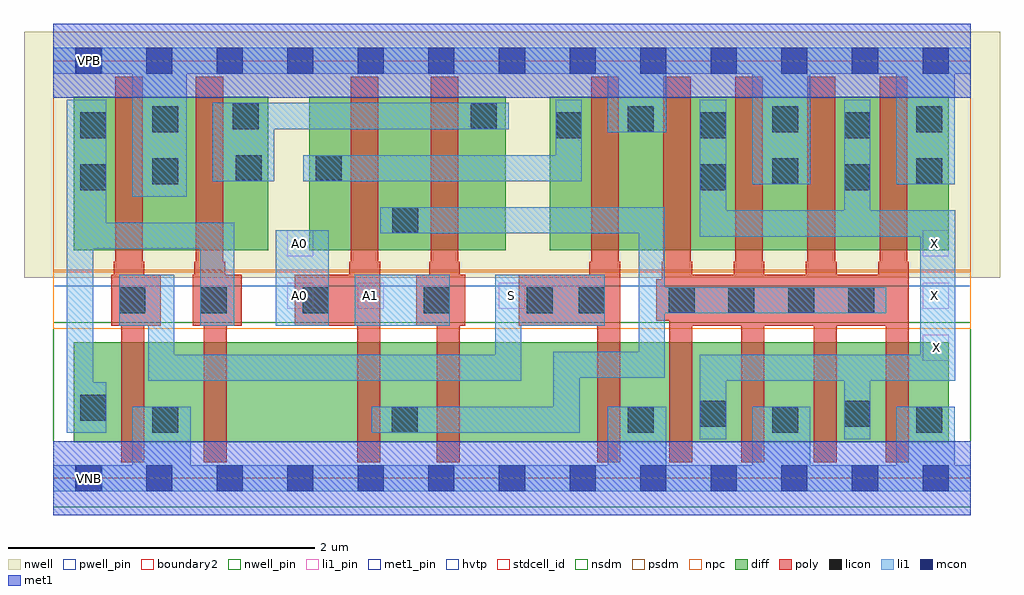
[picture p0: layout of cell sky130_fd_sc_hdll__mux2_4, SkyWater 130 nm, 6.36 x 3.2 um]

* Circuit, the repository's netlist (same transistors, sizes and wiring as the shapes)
* Copyright 2020 The SkyWater PDK Authors
*
* Licensed under the Apache License, Version 2.0 (the "License");
* you may not use this file except in compliance with the License.
* You may obtain a copy of the License at
*
*     https://www.apache.org/licenses/LICENSE-2.0
*
* Unless required by applicable law or agreed to in writing, software
* distributed under the License is distributed on an "AS IS" BASIS,
* WITHOUT WARRANTIES OR CONDITIONS OF ANY KIND, either express or implied.
* See the License for the specific language governing permissions and
* limitations under the License.
*
* SPDX-License-Identifier: Apache-2.0

.SUBCKT sky130_fd_sc_hdll__mux2_4 A0 A1 S VGND VNB VPB VPWR X
*.PININFO A0:I A1:I S:I VGND:I VNB:I VPB:I VPWR:I X:O
MMNA00 xb A0 smdNA0 VNB sky130_fd_pr__nfet_01v8 m=1 w=0.65U l=0.15U mult=1 sa=0.265
+ sb=0.265 sd=0.28 area=0.063 perim=1.14
MMNA01 smdNA0 Sb VGND VNB sky130_fd_pr__nfet_01v8 m=1 w=0.65U l=0.15U mult=1 sa=0.265
+ sb=0.265 sd=0.28 area=0.063 perim=1.14
MMNA10 xb A1 sndNA1 VNB sky130_fd_pr__nfet_01v8 m=1 w=0.65U l=0.15U mult=1 sa=0.265
+ sb=0.265 sd=0.28 area=0.063 perim=1.14
MMNA11 sndNA1 S VGND VNB sky130_fd_pr__nfet_01v8 m=1 w=0.65U l=0.15U mult=1 sa=0.265
+ sb=0.265 sd=0.28 area=0.063 perim=1.14
MMIN1 Sb S VGND VNB sky130_fd_pr__nfet_01v8 m=1 w=0.65U l=0.15U mult=1 sa=0.265
+ sb=0.265 sd=0.28 area=0.063 perim=1.14
MMIN2 X xb VGND VNB sky130_fd_pr__nfet_01v8 m=4 w=0.65U l=0.15U mult=1 sa=0.265
+ sb=0.265 sd=0.28 area=0.063 perim=1.14
MMPA00 VPWR S sndPS VPB sky130_fd_pr__pfet_01v8_hvt m=1 w=1.0U l=0.18U mult=1 sa=0.265
+ sb=0.265 sd=0.28 area=0.063 perim=1.14
MMPA01 sndPS A0 xb VPB sky130_fd_pr__pfet_01v8_hvt m=1 w=1.0U l=0.18U mult=1 sa=0.265
+ sb=0.265 sd=0.28 area=0.063 perim=1.14
MMPA10 VPWR Sb sndPSb VPB sky130_fd_pr__pfet_01v8_hvt m=1 w=1.0U l=0.18U mult=1
+ sa=0.265 sb=0.265 sd=0.28 area=0.063 perim=1.14
MMPA11 sndPSb A1 xb VPB sky130_fd_pr__pfet_01v8_hvt m=1 w=1.0U l=0.18U mult=1 sa=0.265
+ sb=0.265 sd=0.28 area=0.063 perim=1.14
MMIP1 Sb S VPWR VPB sky130_fd_pr__pfet_01v8_hvt m=1 w=1.0U l=0.18U mult=1 sa=0.265
+ sb=0.265 sd=0.28 area=0.063 perim=1.14
MMIP2 X xb VPWR VPB sky130_fd_pr__pfet_01v8_hvt m=4 w=1.0U l=0.18U mult=1 sa=0.265
+ sb=0.265 sd=0.28 area=0.063 perim=1.14
.ENDS sky130_fd_sc_hdll__mux2_4

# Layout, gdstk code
import gdstk
lib = gdstk.Library(unit=1e-6, precision=1e-09)
def R(c, l, rs):  # rectangles x0, y0, x1, y1
    for r in rs: c.add(gdstk.rectangle(r[:2], r[2:], *l))
def A(c, l, x, y, w, h, nx, ny, dx, dy):  # array of equal rectangles
    R(c, l, [(x+i*dx, y+j*dy, x+i*dx+w, y+j*dy+h) for i in range(nx) for j in range(ny)])
def P(c, l, *ps):  # polygons
    for p in ps: c.add(gdstk.Polygon(p, *l))
nwell_pin = (64, 16)
nwell = (64, 20)
diff = (65, 20)
poly = (66, 20)
licon = (66, 44)
li1_pin = (67, 16)
li1 = (67, 20)
mcon = (67, 44)
met1_pin = (68, 16)
met1 = (68, 20)
hvtp = (78, 44)
stdcell_id = (81, 4)
nsdm = (93, 44)
psdm = (94, 20)
npc = (95, 20)
pwell_pin = (122, 16)
boundary2 = (236, 0)

sky130_fd_sc_hdll__mux2_ = lib.new_cell('sky130_fd_sc_hdll__mux2_4')
R(sky130_fd_sc_hdll__mux2_, nwell_pin, [(0.15,2.635,0.32,2.805)])
R(sky130_fd_sc_hdll__mux2_, nwell, [(-0.19,1.305,6.17,2.91)])
R(sky130_fd_sc_hdll__mux2_, diff, [(0.135,0.235,5.835,0.885), (0.135,1.485,1.4,2.485), (1.67,1.485,2.95,2.485), (3.235,1.485,5.835,2.485)])
P(sky130_fd_sc_hdll__mux2_, poly, [(0.7,1.325),(0.595,1.325),(0.595,1.41),(0.585,1.41),(0.585,2.615),(0.405,2.615),(0.405,1.41),(0.395,1.41),(0.395,1.325),(0.38,1.325),(0.38,0.995),(0.445,0.995),(0.445,0.105),(0.595,0.105),(0.595,0.995),(0.7,0.995)],
  [(1.23,1.325),(1.12,1.325),(1.12,1.41),(1.11,1.41),(1.11,2.615),(0.93,2.615),(0.93,1.41),(0.92,1.41),(0.92,1.325),(0.91,1.325),(0.91,0.995),(0.98,0.995),(0.98,0.105),(1.13,0.105),(1.13,0.995),(1.23,0.995)],
  [(2.13,1.41),(2.12,1.41),(2.12,2.615),(1.94,2.615),(1.94,1.41),(1.93,1.41),(1.93,1.325),(1.575,1.325),(1.575,0.995),(1.98,0.995),(1.98,0.105),(2.13,0.105)],
  [(2.685,1.325),(2.65,1.325),(2.65,1.41),(2.64,1.41),(2.64,2.615),(2.46,2.615),(2.46,1.41),(2.45,1.41),(2.45,1.325),(2.365,1.325),(2.365,0.995),(2.5,0.995),(2.5,0.105),(2.65,0.105),(2.65,0.995),(2.685,0.995)],
  [(3.695,1.41),(3.685,1.41),(3.685,2.615),(3.505,2.615),(3.505,1.41),(3.495,1.41),(3.495,1.325),(3.035,1.325),(3.035,0.995),(3.545,0.995),(3.545,0.105),(3.695,0.105)],
  [(5.575,1.41),(5.565,1.41),(5.565,2.615),(5.385,2.615),(5.385,1.41),(5.375,1.41),(5.375,1.325),(5.105,1.325),(5.105,1.41),(5.095,1.41),(5.095,2.615),(4.915,2.615),(4.915,1.41),(4.905,1.41),(4.905,1.325),(4.635,1.325),(4.635,1.41),(4.625,1.41),(4.625,2.615),(4.445,2.615),(4.445,1.41),(4.435,1.41),(4.435,1.325),(4.165,1.325),(4.165,1.41),(4.155,1.41),(4.155,2.615),(3.975,2.615),(3.975,1.41),(3.965,1.41),(3.965,1.295),(3.93,1.295),(3.93,1.025),(4.015,1.025),(4.015,0.105),(4.165,0.105),(4.165,0.995),(4.485,0.995),(4.485,0.105),(4.635,0.105),(4.635,0.995),(4.955,0.995),(4.955,0.105),(5.105,0.105),(5.105,0.995),(5.425,0.995),(5.425,0.105),(5.575,0.105)])
A(sky130_fd_sc_hdll__mux2_, licon, 3.745, 0.295, 0.17, 0.17, 3, 2, 0.94, 1.96)
A(sky130_fd_sc_hdll__mux2_, licon, 4.01, 1.075, 0.17, 0.17, 4, 1, 0.39, 0)
A(sky130_fd_sc_hdll__mux2_, licon, 3.275, 2.215, 0.17, 0.17, 3, 1, 0.94, 0)
R(sky130_fd_sc_hdll__mux2_, licon, [(0.645,0.295,0.815,0.465), (2.205,0.295,2.375,0.465), (4.215,0.335,4.385,0.505), (5.155,0.335,5.325,0.505), (0.175,0.375,0.345,0.545), (0.43,1.075,0.6,1.245), (0.96,1.075,1.13,1.245), (1.625,1.075,1.795,1.245), (2.415,1.075,2.585,1.245), (3.085,1.075,3.255,1.245), (3.425,1.075,3.595,1.245), (2.21,1.595,2.38,1.765), (0.175,1.875,0.345,2.045), (4.215,1.875,4.385,2.045), (5.155,1.875,5.325,2.045), (0.645,1.915,0.815,2.085), (4.685,1.915,4.855,2.085), (5.625,1.915,5.795,2.085), (1.19,1.935,1.36,2.105), (1.71,1.935,1.88,2.105), (0.175,2.215,0.345,2.385), (0.645,2.255,0.815,2.425), (1.17,2.275,1.34,2.445), (2.72,2.275,2.89,2.445)])
A(sky130_fd_sc_hdll__mux2_, li1_pin, 5.665, 0.765, 0.17, 0.17, 1, 3, 0, 0.34)
R(sky130_fd_sc_hdll__mux2_, li1_pin, [(1.525,1.105,1.695,1.275), (1.985,1.105,2.155,1.275), (2.905,1.105,3.075,1.275), (1.525,1.445,1.695,1.615)])
R(sky130_fd_sc_hdll__mux2_, li1, [(1.45,0.995,1.795,1.615), (1.965,0.995,2.585,1.325)])
P(sky130_fd_sc_hdll__mux2_, li1, [(5.98,0.085),(5.875,0.085),(5.875,0.465),(5.495,0.465),(5.495,0.085),(4.935,0.085),(4.935,0.465),(4.555,0.465),(4.555,0.085),(3.995,0.085),(3.995,0.465),(3.615,0.465),(3.615,0.085),(0.895,0.085),(0.895,0.465),(0.515,0.465),(0.515,0.085),(0,0.085),(0,-0.085),(5.98,-0.085)],
  [(5.98,2.805),(0,2.805),(0,2.635),(0.515,2.635),(0.515,1.835),(0.87,1.835),(0.87,2.635),(3.615,2.635),(3.615,2.255),(3.995,2.255),(3.995,2.635),(4.555,2.635),(4.555,1.915),(4.935,1.915),(4.935,2.635),(5.495,2.635),(5.495,1.915),(5.875,1.915),(5.875,2.635),(5.98,2.635)],
  [(5.88,1.745),(5.325,1.745),(5.325,2.465),(5.155,2.465),(5.155,1.745),(4.385,1.745),(4.385,2.465),(4.215,2.465),(4.215,1.575),(5.65,1.575),(5.65,0.805),(4.215,0.805),(4.215,0.255),(4.385,0.255),(4.385,0.635),(5.155,0.635),(5.155,0.255),(5.325,0.255),(5.325,0.635),(5.88,0.635)],
  [(1.18,1.665),(0.345,1.665),(0.345,2.465),(0.09,2.465),(0.09,0.295),(0.345,0.295),(0.345,0.625),(0.26,0.625),(0.26,1.495),(0.96,1.495),(0.96,0.995),(1.18,0.995)],
  [(5.43,1.245),(3.985,1.245),(3.985,1.765),(2.13,1.765),(2.13,1.595),(3.815,1.595),(3.815,0.825),(3.26,0.825),(3.26,0.465),(2.075,0.465),(2.075,0.295),(3.43,0.295),(3.43,0.655),(3.985,0.655),(3.985,1.075),(5.43,1.075)],
  [(3.595,1.325),(2.88,1.325),(2.88,0.805),(0.79,0.805),(0.79,1.325),(0.43,1.325),(0.43,0.995),(0.62,0.995),(0.62,0.635),(3.05,0.635),(3.05,0.995),(3.595,0.995)],
  [(2.97,2.445),(1.04,2.445),(1.04,1.935),(1.44,1.935),(1.44,2.275),(2.97,2.275)],
  [(3.445,2.465),(3.275,2.465),(3.275,2.105),(1.63,2.105),(1.63,1.935),(3.445,1.935)])
A(sky130_fd_sc_hdll__mux2_, mcon, 0.145, -0.085, 0.17, 0.17, 13, 2, 0.46, 2.72)
R(sky130_fd_sc_hdll__mux2_, met1_pin, [(0.15,-0.085,0.32,0.085), (0.15,2.635,0.32,2.805)])
R(sky130_fd_sc_hdll__mux2_, met1, [(0,-0.24,5.98,0.24), (0,2.48,5.98,2.96)])
R(sky130_fd_sc_hdll__mux2_, hvtp, [(0,1.25,5.98,2.72)])
R(sky130_fd_sc_hdll__mux2_, stdcell_id, [(0,0,5.98,2.72)])
R(sky130_fd_sc_hdll__mux2_, nsdm, [(0,-0.19,5.98,1.015)])
R(sky130_fd_sc_hdll__mux2_, psdm, [(0,1.355,5.98,2.91)])
R(sky130_fd_sc_hdll__mux2_, npc, [(0,0.975,5.98,1.345)])
R(sky130_fd_sc_hdll__mux2_, pwell_pin, [(0.15,-0.085,0.32,0.085)])
R(sky130_fd_sc_hdll__mux2_, boundary2, [(0,0,5.98,2.72)])
sky130_fd_sc_hdll__mux2_.add(gdstk.Label('X', (5.755,0.85), layer=67, texttype=5))
sky130_fd_sc_hdll__mux2_.add(gdstk.Label('X', (5.745,1.19), layer=67, texttype=5))
sky130_fd_sc_hdll__mux2_.add(gdstk.Label('X', (5.745,1.53), layer=67, texttype=5))
sky130_fd_sc_hdll__mux2_.add(gdstk.Label('S', (2.985,1.19), layer=67, texttype=5))
sky130_fd_sc_hdll__mux2_.add(gdstk.Label('A0', (1.605,1.19), layer=67, texttype=5))
sky130_fd_sc_hdll__mux2_.add(gdstk.Label('A1', (2.065,1.19), layer=67, texttype=5))
sky130_fd_sc_hdll__mux2_.add(gdstk.Label('A0', (1.605,1.53), layer=67, texttype=5))
sky130_fd_sc_hdll__mux2_.add(gdstk.Label('VNB', (0.235,0), layer=64, texttype=59))
sky130_fd_sc_hdll__mux2_.add(gdstk.Label('VPB', (0.235,2.72), layer=64, texttype=5))
sky130_fd_sc_hdll__mux2_.add(gdstk.Label('VPWR', (0.235,2.72), layer=68, texttype=5))
sky130_fd_sc_hdll__mux2_.add(gdstk.Label('VGND', (0.235,0), layer=68, texttype=5))
sky130_fd_sc_hdll__mux2_.add(gdstk.Label('mux2_4', (0,0), layer=83, texttype=44))

lib.write_gds('sky130_fd_sc_hdll__mux2_4.gds')
